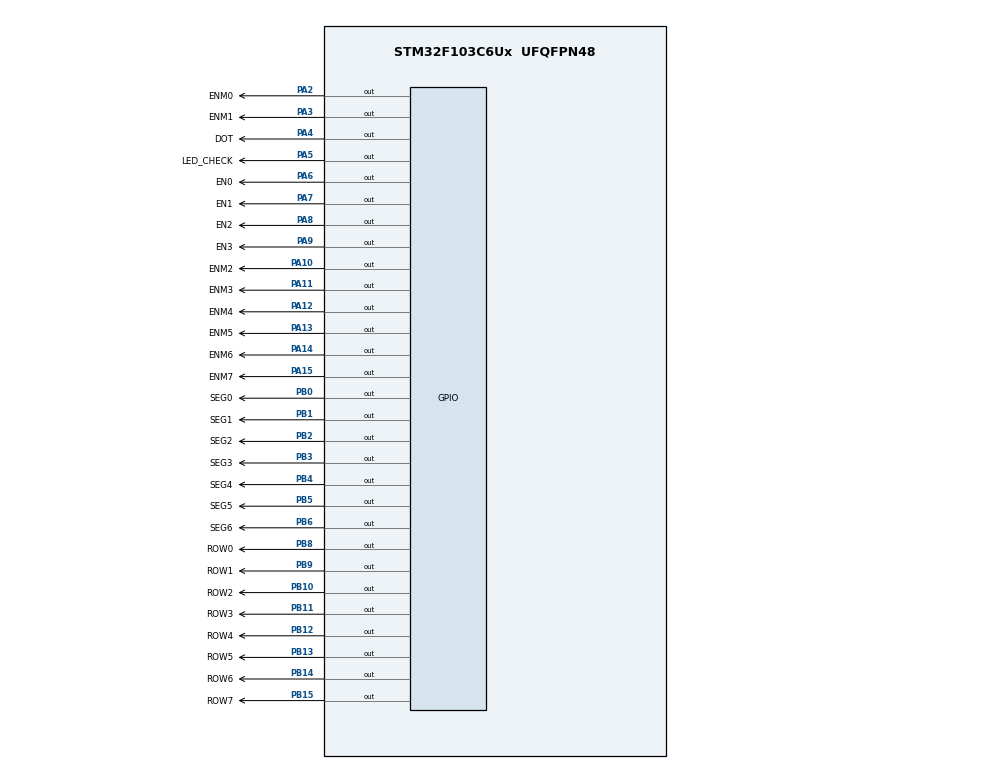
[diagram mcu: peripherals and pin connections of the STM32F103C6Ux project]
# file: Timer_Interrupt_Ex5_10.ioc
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Mcu.Family=STM32F1
Mcu.Name=STM32F103C6Ux
Mcu.Package=UFQFPN48
NVIC.PriorityGroup=NVIC_PRIORITYGROUP_4
NVIC.TIM2_IRQn=true\:0\:0\:false\:false\:true\:true\:true
PA10.GPIO_Label=ENM2
PA10.Signal=GPIO_Output
PA11.GPIO_Label=ENM3
PA11.Signal=GPIO_Output
PA12.GPIO_Label=ENM4
PA12.Signal=GPIO_Output
PA13.GPIO_Label=ENM5
PA13.Signal=GPIO_Output
PA14.GPIO_Label=ENM6
PA14.Signal=GPIO_Output
PA15.GPIO_Label=ENM7
PA15.Signal=GPIO_Output
PA2.GPIO_Label=ENM0
PA2.Signal=GPIO_Output
PA3.GPIO_Label=ENM1
PA3.Signal=GPIO_Output
PA4.GPIO_Label=DOT
PA4.Signal=GPIO_Output
PA5.GPIO_Label=LED_CHECK
PA5.Signal=GPIO_Output
PA6.GPIO_Label=EN0
PA6.Signal=GPIO_Output
PA7.GPIO_Label=EN1
PA7.Signal=GPIO_Output
PA8.GPIO_Label=EN2
PA8.Signal=GPIO_Output
PA9.GPIO_Label=EN3
PA9.Signal=GPIO_Output
PB0.GPIO_Label=SEG0
PB0.Signal=GPIO_Output
PB1.GPIO_Label=SEG1
PB1.Signal=GPIO_Output
PB10.GPIO_Label=ROW2
PB10.Signal=GPIO_Output
PB11.GPIO_Label=ROW3
PB11.Signal=GPIO_Output
PB12.GPIO_Label=ROW4
PB12.Signal=GPIO_Output
PB13.GPIO_Label=ROW5
PB13.Signal=GPIO_Output
PB14.GPIO_Label=ROW6
PB14.Signal=GPIO_Output
PB15.GPIO_Label=ROW7
PB15.Signal=GPIO_Output
PB2.GPIO_Label=SEG2
PB2.Signal=GPIO_Output
PB3.GPIO_Label=SEG3
PB3.Signal=GPIO_Output
PB4.GPIO_Label=SEG4
PB4.Signal=GPIO_Output
PB5.GPIO_Label=SEG5
PB5.Signal=GPIO_Output
PB6.GPIO_Label=SEG6
PB6.Signal=GPIO_Output
PB8.GPIO_Label=ROW0
PB8.Signal=GPIO_Output
PB9.GPIO_Label=ROW1
PB9.Signal=GPIO_Output
ProjectManager.HeapSize=0x200
ProjectManager.StackSize=0x400
ProjectManager.TargetToolchain=STM32CubeIDE
RCC.APB1Freq_Value=8000000
RCC.APB2Freq_Value=8000000
TIM2.Period=9
TIM2.Prescaler=7999
VP_SYS_VS_ND.Mode=No_Debug
VP_TIM2_VS_ClockSourceINT.Mode=Internal
board=custom

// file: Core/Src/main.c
/* USER CODE BEGIN Header */
/**
  ******************************************************************************
  * @file           : main.c
  * @brief          : Main program body
  ******************************************************************************
  * @attention
  *
  * <h2><center>&copy; Copyright (c) 2025 STMicroelectronics.
  * All rights reserved.</center></h2>
  *
  * This software component is licensed by ST under BSD 3-Clause license,
  * the "License"; You may not use this file except in compliance with the
  * License. You may obtain a copy of the License at:
  *                        opensource.org/licenses/BSD-3-Clause
  *
  ******************************************************************************
  */
/* USER CODE END Header */
#include "main.h"
#include "Timer_Software_Interrupt_DF.h"
#include "LedMatrix_8x8.h"

/* USER CODE BEGIN PD */
const int MAX_LED = 4;
int index_led = 0;
int led_buffer[4];
int hour = 15, minute = 59, second = 55;
uint8_t Dot_Counter = 100;
uint8_t Led_Counter = 25;

uint8_t buffer[8] = {0x01, 0x02, 0x03, 0x04, 0x05, 0x06, 0x07, 0x08};
uint8_t A_buffer[8]= {0x00, 0xFE, 0xFF, 0x11, 0x11, 0xFF, 0xFE, 0x00};
uint8_t Heart_buffer[8] = {0x1C, 0x3E, 0x7E, 0xFC, 0xFC, 0x7E, 0x3E, 0x1C};

/* USER CODE END PD */

TIM_HandleTypeDef htim2;

void SystemClock_Config(void);
static void MX_GPIO_Init(void);
static void MX_TIM2_Init(void);

/* USER CODE BEGIN 0 */

//****************************************************************************//
// EXERCISE 5 //
void updateClockBuffer(){
	led_buffer[0] = hour/10;
	led_buffer[1] = hour%10;
	led_buffer[2] = minute/10;
	led_buffer[3] = minute%10;
}
//****************************************************************************//

void display7SEG(uint8_t counter){
	// The first condition -> Turn on LED
	// Config SEG A
	if(counter != 1 && counter != 4){
		HAL_GPIO_WritePin(GPIOB, SEG0_Pin, GPIO_PIN_RESET);
	}
	else HAL_GPIO_WritePin(GPIOB, SEG0_Pin, GPIO_PIN_SET);

	// Config SEG B
	if(counter != 5 && counter != 6){
		HAL_GPIO_WritePin(GPIOB, SEG1_Pin, GPIO_PIN_RESET);
	}
	else HAL_GPIO_WritePin(GPIOB, SEG1_Pin, GPIO_PIN_SET);

	// Config SEG C
	if(counter != 2){
		HAL_GPIO_WritePin(GPIOB, SEG2_Pin, GPIO_PIN_RESET);
	}
	else HAL_GPIO_WritePin(GPIOB, SEG2_Pin, GPIO_PIN_SET);

	// Config SEG D
	if(counter != 1 && counter != 4 && counter != 7){
		HAL_GPIO_WritePin(GPIOB, SEG3_Pin, GPIO_PIN_RESET);
	}
	else HAL_GPIO_WritePin(GPIOB, SEG3_Pin, GPIO_PIN_SET);

	// Config SEG E
	if(counter == 0 || counter == 2 || counter == 6 || counter == 8){
		HAL_GPIO_WritePin(GPIOB, SEG4_Pin, GPIO_PIN_RESET);
	}
	else HAL_GPIO_WritePin(GPIOB, SEG4_Pin, GPIO_PIN_SET);

	// Config SEG F
	if(counter != 1 && counter != 2 && counter != 3 && counter != 7){
		HAL_GPIO_WritePin(GPIOB, SEG5_Pin, GPIO_PIN_RESET);
	}
	else HAL_GPIO_WritePin(GPIOB, SEG5_Pin, GPIO_PIN_SET);

	// Config SEG G
	if(counter != 0 && counter != 1 && counter != 7){
		HAL_GPIO_WritePin(GPIOB, SEG6_Pin, GPIO_PIN_RESET);
	}
	else HAL_GPIO_WritePin(GPIOB, SEG6_Pin, GPIO_PIN_SET);
}

void update7SEG(int index){
	switch(index){
		case 0:
			HAL_GPIO_WritePin(GPIOA, EN0_Pin, GPIO_PIN_RESET);
			HAL_GPIO_WritePin(GPIOA, EN1_Pin, GPIO_PIN_SET);
			HAL_GPIO_WritePin(GPIOA, EN2_Pin, GPIO_PIN_SET);
			HAL_GPIO_WritePin(GPIOA, EN3_Pin, GPIO_PIN_SET);
			display7SEG(led_buffer[0]);
			break;
		case 1:
			HAL_GPIO_WritePin(GPIOA, EN0_Pin, GPIO_PIN_SET);
			HAL_GPIO_WritePin(GPIOA, EN1_Pin, GPIO_PIN_RESET);
			display7SEG(led_buffer[1]);
			break;
		case 2:
			HAL_GPIO_WritePin(GPIOA, EN1_Pin, GPIO_PIN_SET);
			HAL_GPIO_WritePin(GPIOA, EN2_Pin, GPIO_PIN_RESET);
			display7SEG(led_buffer[2]);
			break;
		case 3:
			HAL_GPIO_WritePin(GPIOA, EN2_Pin, GPIO_PIN_SET);
			HAL_GPIO_WritePin(GPIOA, EN3_Pin, GPIO_PIN_RESET);
			display7SEG(led_buffer[3]);
			break;
		default:
			break;
	}
}

/* USER CODE END 0 */

int main(void)
{

  /* MCU Configuration--------------------------------------------------------*/

  /* Reset of all peripherals, Initializes the Flash interface and the Systick. */
  HAL_Init();

  /* USER CODE BEGIN Init */
//************************************************************************//
  // Lỗi sai khi chưa init hệ thống đã chạy IT rồi lƯU ý Nha
//  // Commence IT
//  HAL_TIM_Base_Start_IT(&htim2);
//
//  // Turn on the first State
//  HAL_GPIO_WritePin(LED_CHECK_GPIO_Port, LED_CHECK_Pin, 1);
//  HAL_GPIO_WritePin(DOT_GPIO_Port, DOT_Pin, 0);
//  //updateClockBuffer();
//  update7SEG(index_led++);
//
//  // Set timer for each event
//  settimer_index(0, 1000);
//  settimer_index(1, 250);
  //************************************************************************//
  /* USER CODE END Init */

  /* Configure the system clock */
  SystemClock_Config();

  /* Initialize all configured peripherals */
  MX_GPIO_Init();
  MX_TIM2_Init();

  /* USER CODE BEGIN 2 */
  // Init for EXERCISE 9
//  SetUp_MATRIX_BUFFER(A_buffer);

  //Init for EXERCISE 10
  SetUp_MATRIXDisplay_BUFFER(Heart_buffer);

  MATRIX_8x8_ROW_Init(ROW0_GPIO_Port, ROW1_GPIO_Port, ROW2_GPIO_Port, ROW3_GPIO_Port,
		  ROW4_GPIO_Port, ROW5_GPIO_Port, ROW6_GPIO_Port, ROW7_GPIO_Port,
		  ROW0_Pin, ROW1_Pin, ROW2_Pin, ROW3_Pin,
		  ROW4_Pin, ROW5_Pin, ROW6_Pin, ROW7_Pin);

  MATRIX_8x8_COLUMN_Init(ENM0_GPIO_Port, ENM1_GPIO_Port, ENM2_GPIO_Port, ENM3_GPIO_Port,
  		  ENM4_GPIO_Port, ENM5_GPIO_Port, ENM6_GPIO_Port, ENM7_GPIO_Port,
  		  ENM0_Pin, ENM1_Pin, ENM2_Pin, ENM3_Pin,
  		  ENM4_Pin, ENM5_Pin, ENM6_Pin, ENM7_Pin);

    // Commence IT
    HAL_TIM_Base_Start_IT(&htim2);

    // Turn on the first State
    HAL_GPIO_WritePin(LED_CHECK_GPIO_Port, LED_CHECK_Pin, 1);
    HAL_GPIO_WritePin(DOT_GPIO_Port, DOT_Pin, 0);
    updateClockBuffer();
    update7SEG(index_led++); // this initial is only used for exercise 8
    updateLEDMatrix(index_led_matrix++); // this initial is only used for exercise 9
    updateLEDMatrixBUFFER();// this initial is only used for exercise 10

    // Set timer for each event
    settimer_index(0, 1000);
    settimer_index(1, 250);
    settimer_index(2, 10); // initial for exercice 9 and 10
  /* USER CODE END 2 */

  /* Infinite loop */
  /* USER CODE BEGIN WHILE */
  while (1)
  {
//****************************************************************************//
 // EXERCISE 5 //
//	  second++;
//	  if(second >= 60){
//		  second = 0;
//		  minute++;
//	  }
//	  if(minute >= 60){
//		  minute = 0;
//		  hour++;
//	  }
//	  if(hour >= 24){
//		  hour = 0;
//	  }
//	  if(index_led >= 4) index_led = 0;
//
//	  updateClockBuffer();
//	  update7SEG(index_led++);
//	  HAL_Delay(1000);
//	  HAL_GPIO_TogglePin(LED_CHECK_GPIO_Port, LED_CHECK_Pin);

//****************************************************************************//
/* EXERCISE 7 */
	  	  //interrupt for 1 second
//	  	  if(timer_flag[0] == 1){
//	  		  timer_flag[0] = 0;
//	  		  settimer_index(0, 1000);
//
//	  		  HAL_GPIO_TogglePin(LED_CHECK_GPIO_Port, LED_CHECK_Pin);
//	  		  HAL_GPIO_TogglePin(DOT_GPIO_Port, DOT_Pin);
//
//	  		  second++;
//	  		  if(second >= 60){
//	  			  second = 0;
//	  		  	  minute++;
//	  		  }
//	  	  	  if(minute >= 60){
//	  	 		  minute = 0;
//	  	 		  hour++;
//	  	  	  }
//	  		  if(hour >= 24){
//	  		 	  hour = 0;
//	  		  }
//	  		  updateClockBuffer();
//
//	  	  }

//****************************************************************************//
/* EXERCISE 8*/
	  //interrupt for 1 second
//	  if(timer_flag[0] == 1){
//		  timer_flag[0] = 0;
//		  settimer_index(0, 1000);
//
//		  HAL_GPIO_TogglePin(LED_CHECK_GPIO_Port, LED_CHECK_Pin);
//		  HAL_GPIO_TogglePin(DOT_GPIO_Port, DOT_Pin);
//
//		  second++;
//		  if(second >= 60){
//			  second = 0;
//		  	  minute++;
//		  }
//	  	  if(minute >= 60){
//	 		  minute = 0;
//	 		  hour++;
//	  	  }
//		  if(hour >= 24){
//		 	  hour = 0;
//		  }
//		  updateClockBuffer();
//
//	  }
//
//	  // interrupt for 0.25 second
//	  if(timer_flag[1] == 1){
//		  timer_flag[1] = 0;
//		  settimer_index(1, 250);
//		  if(index_led >= 4) index_led = 0;
//		  update7SEG(index_led++);
//	  }

//****************************************************************************//
/* EXERCISE 9 */
//	  	  //interrupt for 1 second
//	  	  if(timer_flag[0] == 1){
//	  		  timer_flag[0] = 0;
//	  		  settimer_index(0, 1000);
//
//	  		  HAL_GPIO_TogglePin(LED_CHECK_GPIO_Port, LED_CHECK_Pin);
//	  		  HAL_GPIO_TogglePin(DOT_GPIO_Port, DOT_Pin);
//
//	  		  second++;
//	  		  if(second >= 60){
//	  			  second = 0;
//	  		  	  minute++;
//	  		  }
//	  	  	  if(minute >= 60){
//	  	 		  minute = 0;
//	  	 		  hour++;
//	  	  	  }
//	  		  if(hour >= 24){
//	  		 	  hour = 0;
//	  		  }
//	  		  updateClockBuffer();
//
//	  	  }
//
//	  	  // interrupt for 0.25 second
//	  	  if(timer_flag[1] == 1){
//	  		  timer_flag[1] = 0;
//	  		  settimer_index(1, 250);
//
//	  		  if(index_led >= 4) index_led = 0;
//	  		  update7SEG(index_led++);
//	  	  }
//
//	  	  // interrupt for 0.01 second
//	  	  if(timer_flag[2] == 1){
//	  		  timer_flag[2] = 0;
//	  	  	  settimer_index(2, 10);
//
//	  		  if(index_led_matrix >= MAX_LED_MATRIX) index_led_matrix = 0;
//	  		  updateLEDMatrix(index_led_matrix++);
//	  	  }
//****************************************************************************//
/* EXERCISE 10 */
	  	 //interrupt for 1 second
	  	 if(timer_flag[0] == 1){
	  		  timer_flag[0] = 0;
	  		  settimer_index(0, 1000);

	  		  HAL_GPIO_TogglePin(LED_CHECK_GPIO_Port, LED_CHECK_Pin);
	  		  HAL_GPIO_TogglePin(DOT_GPIO_Port, DOT_Pin);

	  		  second++;
	  		  if(second >= 60){
	  			  second = 0;
	  		  	  minute++;
	  		  }
	  		  if(minute >= 60){
	  		  	  minute = 0;
	  		  	  hour++;
	  		  }
	  		  if(hour >= 24){
	  		  	  hour = 0;
	  		  }
	  		  updateClockBuffer();
	  		  updateLEDMatrixBUFFER();
	  	   }

	  		  	  // interrupt for 0.25 second
	  		  	  if(timer_flag[1] == 1){
	  		  		  timer_flag[1] = 0;
	  		  		  settimer_index(1, 250);

	  		  		  if(index_led >= 4) index_led = 0;
	  		  		  update7SEG(index_led++);
	  		  	  }

	  		  	  // interrupt for 0.01 second
	  		  	  if(timer_flag[2] == 1){
	  		  		  timer_flag[2] = 0;
	  		  	  	  settimer_index(2, 10);

	  		  		  if(index_led_matrix >= MAX_LED_MATRIX) index_led_matrix = 0;
	  		  		  updateLEDMatrix(index_led_matrix++);
	  		  	  }

    /* USER CODE END WHILE */

  }
}

void SystemClock_Config(void)
{
  RCC_OscInitTypeDef RCC_OscInitStruct = {0};
  RCC_ClkInitTypeDef RCC_ClkInitStruct = {0};

  /** Initializes the RCC Oscillators according to the specified parameters
  * in the RCC_OscInitTypeDef structure.
  */
  RCC_OscInitStruct.OscillatorType = RCC_OSCILLATORTYPE_HSI;
  RCC_OscInitStruct.HSIState = RCC_HSI_ON;
  RCC_OscInitStruct.HSICalibrationValue = RCC_HSICALIBRATION_DEFAULT;
  RCC_OscInitStruct.PLL.PLLState = RCC_PLL_NONE;
  if (HAL_RCC_OscConfig(&RCC_OscInitStruct) != HAL_OK)
  {
    Error_Handler();
  }
  /** Initializes the CPU, AHB and APB buses clocks
  */
  RCC_ClkInitStruct.ClockType = RCC_CLOCKTYPE_HCLK|RCC_CLOCKTYPE_SYSCLK
                              |RCC_CLOCKTYPE_PCLK1|RCC_CLOCKTYPE_PCLK2;
  RCC_ClkInitStruct.SYSCLKSource = RCC_SYSCLKSOURCE_HSI;
  RCC_ClkInitStruct.AHBCLKDivider = RCC_SYSCLK_DIV1;
  RCC_ClkInitStruct.APB1CLKDivider = RCC_HCLK_DIV1;
  RCC_ClkInitStruct.APB2CLKDivider = RCC_HCLK_DIV1;

  if (HAL_RCC_ClockConfig(&RCC_ClkInitStruct, FLASH_LATENCY_0) != HAL_OK)
  {
    Error_Handler();
  }
}

static void MX_TIM2_Init(void)
{

  TIM_ClockConfigTypeDef sClockSourceConfig = {0};
  TIM_MasterConfigTypeDef sMasterConfig = {0};

  htim2.Instance = TIM2;
  htim2.Init.Prescaler = 7999;
  htim2.Init.CounterMode = TIM_COUNTERMODE_UP;
  htim2.Init.Period = 9;
  htim2.Init.ClockDivision = TIM_CLOCKDIVISION_DIV1;
  htim2.Init.AutoReloadPreload = TIM_AUTORELOAD_PRELOAD_DISABLE;
  if (HAL_TIM_Base_Init(&htim2) != HAL_OK)
  {
    Error_Handler();
  }
  sClockSourceConfig.ClockSource = TIM_CLOCKSOURCE_INTERNAL;
  if (HAL_TIM_ConfigClockSource(&htim2, &sClockSourceConfig) != HAL_OK)
  {
    Error_Handler();
  }
  sMasterConfig.MasterOutputTrigger = TIM_TRGO_RESET;
  sMasterConfig.MasterSlaveMode = TIM_MASTERSLAVEMODE_DISABLE;
  if (HAL_TIMEx_MasterConfigSynchronization(&htim2, &sMasterConfig) != HAL_OK)
  {
    Error_Handler();
  }

}

static void MX_GPIO_Init(void)
{
  GPIO_InitTypeDef GPIO_InitStruct = {0};

  /* GPIO Ports Clock Enable */
  __HAL_RCC_GPIOA_CLK_ENABLE();
  __HAL_RCC_GPIOB_CLK_ENABLE();

  /*Configure GPIO pin Output Level */
  HAL_GPIO_WritePin(GPIOA, ENM0_Pin|ENM1_Pin|DOT_Pin|LED_CHECK_Pin
                          |EN0_Pin|EN1_Pin|EN2_Pin|EN3_Pin
                          |ENM2_Pin|ENM3_Pin|ENM4_Pin|ENM5_Pin
                          |ENM6_Pin|ENM7_Pin, GPIO_PIN_RESET);

  /*Configure GPIO pin Output Level */
  HAL_GPIO_WritePin(GPIOB, SEG0_Pin|SEG1_Pin|SEG2_Pin|ROW2_Pin
                          |ROW3_Pin|ROW4_Pin|ROW5_Pin|ROW6_Pin
                          |ROW7_Pin|SEG3_Pin|SEG4_Pin|SEG5_Pin
                          |SEG6_Pin|ROW0_Pin|ROW1_Pin, GPIO_PIN_RESET);

  /*Configure GPIO pins : ENM0_Pin ENM1_Pin DOT_Pin LED_CHECK_Pin
                           EN0_Pin EN1_Pin EN2_Pin EN3_Pin
                           ENM2_Pin ENM3_Pin ENM4_Pin ENM5_Pin
                           ENM6_Pin ENM7_Pin */
  GPIO_InitStruct.Pin = ENM0_Pin|ENM1_Pin|DOT_Pin|LED_CHECK_Pin
                          |EN0_Pin|EN1_Pin|EN2_Pin|EN3_Pin
                          |ENM2_Pin|ENM3_Pin|ENM4_Pin|ENM5_Pin
                          |ENM6_Pin|ENM7_Pin;
  GPIO_InitStruct.Mode = GPIO_MODE_OUTPUT_PP;
  GPIO_InitStruct.Pull = GPIO_NOPULL;
  GPIO_InitStruct.Speed = GPIO_SPEED_FREQ_LOW;
  HAL_GPIO_Init(GPIOA, &GPIO_InitStruct);

  /*Configure GPIO pins : SEG0_Pin SEG1_Pin SEG2_Pin ROW2_Pin
                           ROW3_Pin ROW4_Pin ROW5_Pin ROW6_Pin
                           ROW7_Pin SEG3_Pin SEG4_Pin SEG5_Pin
                           SEG6_Pin ROW0_Pin ROW1_Pin */
  GPIO_InitStruct.Pin = SEG0_Pin|SEG1_Pin|SEG2_Pin|ROW2_Pin
                          |ROW3_Pin|ROW4_Pin|ROW5_Pin|ROW6_Pin
                          |ROW7_Pin|SEG3_Pin|SEG4_Pin|SEG5_Pin
                          |SEG6_Pin|ROW0_Pin|ROW1_Pin;
  GPIO_InitStruct.Mode = GPIO_MODE_OUTPUT_PP;
  GPIO_InitStruct.Pull = GPIO_NOPULL;
  GPIO_InitStruct.Speed = GPIO_SPEED_FREQ_LOW;
  HAL_GPIO_Init(GPIOB, &GPIO_InitStruct);

}

/* USER CODE BEGIN 4 */
//****************************************************************//
// EXERCISE 7 //
//void HAL_TIM_PeriodElapsedCallback(TIM_HandleTypeDef *htim){
//	if(htim->Instance == htim2.Instance){
//		runtime();
//		if(timer_flag[1] == 1){
//			timer_flag[1] = 0;
//			settimer_index(1, 250);
//			if(index_led >= 4) index_led = 0;
//			update7SEG(index_led++);
//		}
//	}
//}

//****************************************************************//
// EXERCISE 8+9+10 //
void HAL_TIM_PeriodElapsedCallback(TIM_HandleTypeDef *htim){
	if(htim->Instance == htim2.Instance){
		runtime();
	}
}

/* USER CODE END 4 */

void Error_Handler(void)
{
  __disable_irq();
  while (1)
  {
  }
}

/************************ (C) COPYRIGHT STMicroelectronics *****END OF FILE****/
